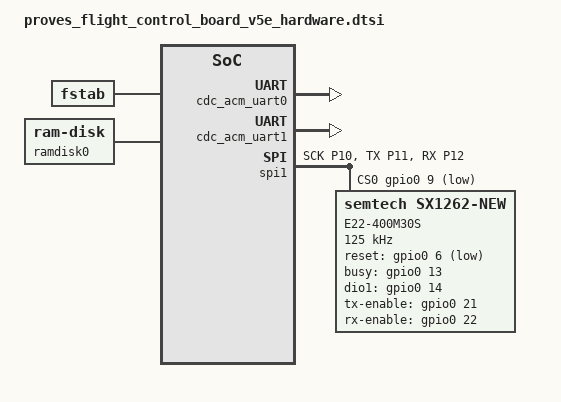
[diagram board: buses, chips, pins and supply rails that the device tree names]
/*
 * Project-specific hardware for PROVES Flight Control Board v5e.
 * Same wiring intent as the v5 port, but the v5e carries an SX126x-based
 * LoRa module (E22-400M30S) instead of the v5's SX1276.
 *
 * Phase 6 (USP port): the SX1262 node now uses the USP "semtech,sx1262-new"
 * binding instead of the in-tree Zephyr "semtech,sx1262" binding, so that
 * CONFIG_LORA_BASICS_MODEM_DRIVERS (usp_zephyr) claims the device instead of
 * the in-tree loramac-node driver (LORA_BASICS_MODEM_DRIVERS depends on
 * !LORA, so exactly one driver binds). Node/property mapping mirrors
 * proves-core-reference's v5e USP node (same module, same wiring -- GRC's
 * v5e board was itself ported *from* flight's v5e pinout).
 */

#include <zephyr/dt-bindings/usp/sx126x.h>

&zephyr_udc0 {
	/* Control port */
	cdc_acm_uart0: cdc_acm_uart0 {
		compatible = "zephyr,cdc-acm-uart";
	};
	/* Data port */
	cdc_acm_uart1: cdc_acm_uart1 {
		compatible = "zephyr,cdc-acm-uart";
	};
};

&pinctrl {
	spi1_default: spi1_default {
		group1 {
			pinmux = <SPI1_SCK_P10>, <SPI1_TX_P11>;
		};

		group2 {
			pinmux = <SPI1_RX_P12>;
			input-enable;
		};
	};
};

&spi1 {
	status = "okay";
	cs-gpios = <&gpio0 9 GPIO_ACTIVE_LOW>;
	pinctrl-0 = <&spi1_default>;
	pinctrl-names = "default";

	/*
	 * USP SX1262 node -- E22-400M30S module, SPI1 CS0.
	 *
	 * compatible: "semtech,sx1262-new" (USP binding) instead of the
	 *   in-tree "semtech,sx1262" -- prevents the in-tree Zephyr lora
	 *   driver from claiming this device.
	 * dio1-gpios: GPIO_PULL_DOWN moved here from tx/rx-enable-gpios
	 *   (matches flight's v5e USP node -- a real diff introduced during
	 *   flight's port, carried over rather than the stale in-tree flags).
	 * dio3-as-tcxo-control + tcxo-voltage: replaces dio3-tcxo-voltage.
	 * tcxo-wakeup-time: replaces tcxo-power-startup-delay-ms.
	 * reg-mode: new required USP property; LDO on E22-400M30S (no DC-DC
	 *   inductor).
	 */
	lora0_usp: sx1262_usp@0 {
		compatible = "semtech,sx1262-new";
		reg = <0>;
		spi-max-frequency = <125000>;
		reset-gpios  = <&gpio0 6  GPIO_ACTIVE_LOW>;
		busy-gpios   = <&gpio0 13 GPIO_ACTIVE_HIGH>;
		dio1-gpios   = <&gpio0 14 (GPIO_ACTIVE_HIGH | GPIO_PULL_DOWN)>;
		dio3-as-tcxo-control;
		tcxo-voltage     = <SX126X_TCXO_SUPPLY_1_8V>;
		tcxo-wakeup-time = <10>;
		reg-mode         = <SX126X_REG_MODE_LDO>;
		rx-boosted;
		tx-enable-gpios  = <&gpio0 21 GPIO_ACTIVE_HIGH>;
		rx-enable-gpios  = <&gpio0 22 GPIO_ACTIVE_HIGH>;
		label = "E22-400M30S";
	};
};

/ {
	chosen {
		zephyr,console = &cdc_acm_uart0;
		/*
		 * smtc_sw_platform_helper.c calls
		 * DEVICE_DT_GET(DT_CHOSEN(zephyr_lorawan_transceiver)) to obtain
		 * the ral_t* handle for the SX1262 -- required for the USP path.
		 */
		zephyr,lorawan-transceiver = &lora0_usp;
	};

	fstab {
		compatible = "zephyr,fstab";
		ffs1: ffs1 {
			compatible = "zephyr,fstab,fatfs";
			disk-access;
			automount;
			mount-point = "/";
		};
	};

	ramdisk0 {
		compatible = "zephyr,ram-disk";
		disk-name = "RAM";
		sector-size = <512>;
		sector-count = <128>;
	};
};
